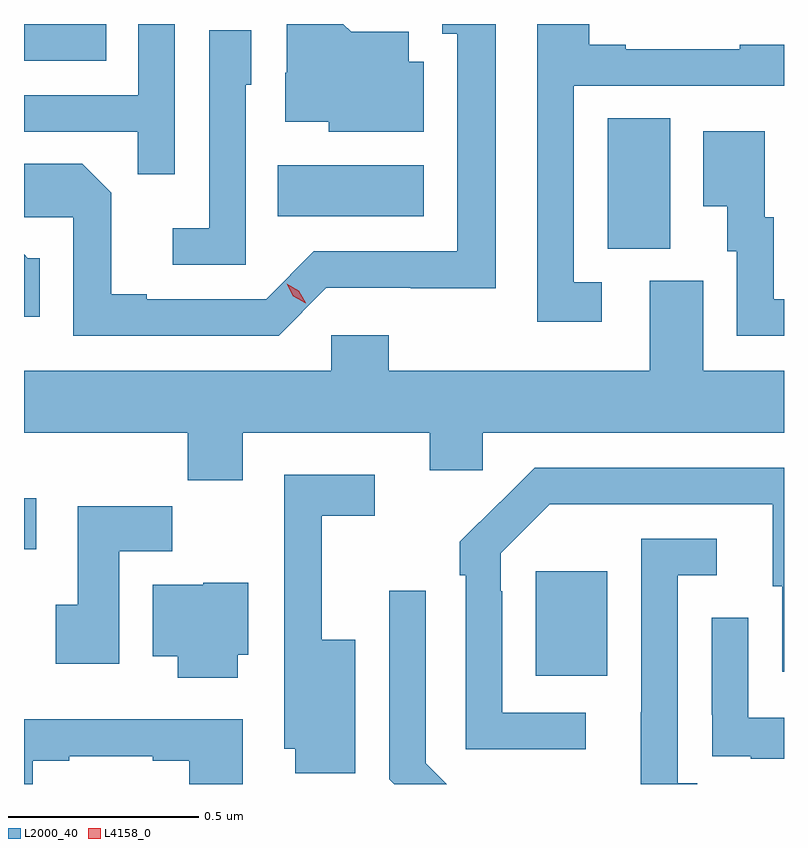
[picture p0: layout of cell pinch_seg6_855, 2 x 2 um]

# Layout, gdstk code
import gdstk
lib = gdstk.Library(unit=1e-6, precision=1e-09)
def R(c, l, rs):  # rectangles x0, y0, x1, y1
    for r in rs: c.add(gdstk.rectangle(r[:2], r[2:], *l))
def P(c, l, *ps):  # polygons
    for p in ps: c.add(gdstk.Polygon(p, *l))
L2000_40 = (2000, 40)
L4158_0 = (4158, 0)

pinch_seg6_855 = lib.new_cell('pinch_seg6_855')
R(pinch_seg6_855, L2000_40, [(150.923,970.673,151.111,970.948), (149.576,971.006,149.608,971.14), (151.112,971.797,151.276,972.14), (150.244,971.882,150.628,972.016), (149.576,972.291,149.792,972.388)])
P(pinch_seg6_855, L2000_40, [(151.096,971.709),(151.023,971.709),(151.023,972.225),(151.576,972.225),(151.576,972.334),(151.459,972.334),(151.459,972.321),(151.159,972.321),(151.159,972.334),(151.063,972.334),(151.063,972.388),(150.927,972.388),(150.927,971.604),(151.096,971.604)],
  [(150.628,972.289),(150.589,972.289),(150.589,972.367),(150.437,972.367),(150.416,972.388),(150.267,972.388),(150.267,972.26),(150.263,972.26),(150.263,972.131),(150.378,972.131),(150.378,972.104),(150.628,972.104)],
  [(150.372,971.694),(150.594,971.694),(150.594,971.693),(150.817,971.693),(150.817,972.388),(150.677,972.388),(150.677,972.363),(150.716,972.363),(150.716,971.79),(150.339,971.79),(150.213,971.664),(149.899,971.664),(149.899,971.677),(149.805,971.677),(149.805,971.944),(149.729,972.02),(149.576,972.02),(149.576,971.88),(149.706,971.88),(149.706,971.568),(150.246,971.568)],
  [(149.973,972.388),(149.877,972.388),(149.877,972.201),(149.576,972.201),(149.576,972.105),(149.875,972.105),(149.875,971.992),(149.973,971.992)],
  [(150.159,972.228),(150.174,972.228),(150.174,972.371),(150.063,972.371),(150.063,971.851),(149.967,971.851),(149.967,971.754),(150.159,971.754)],
  [(151.576,971.664),(151.549,971.664),(151.549,971.88),(151.525,971.88),(151.525,972.106),(151.364,972.106),(151.364,971.909),(151.427,971.909),(151.427,971.79),(151.452,971.79),(151.452,971.568),(151.576,971.568)],
  [(149.617,971.772),(149.586,971.772),(149.576,971.782),(149.576,971.618),(149.617,971.618)],
  [(150.151,971.312),(150.644,971.312),(150.644,971.214),(150.783,971.214),(150.783,971.312),(151.576,971.312),(151.576,971.476),(151.363,971.476),(151.363,971.712),(151.223,971.712),(151.223,971.476),(150.536,971.476),(150.536,971.569),(150.384,971.569),(150.384,971.476),(149.576,971.476),(149.576,971.312),(150.007,971.312),(150.007,971.188),(150.151,971.188)],
  [(151.054,970.575),(150.834,970.575),(150.834,970.895),(150.831,970.895),(150.831,970.995),(150.96,971.124),(151.547,971.124),(151.547,970.908),(151.571,970.908),(151.571,970.683),(151.576,970.683),(151.576,971.22),(150.92,971.22),(150.829,971.129),(150.828,971.13),(150.723,971.025),(150.723,970.937),(150.738,970.937),(150.738,970.479),(151.054,970.479)],
  [(150.448,970.768),(150.359,970.768),(150.359,971.094),(150.499,971.094),(150.499,971.202),(150.261,971.202),(150.261,970.481),(150.29,970.481),(150.29,970.416),(150.448,970.416)],
  [(149.827,971),(149.966,971),(149.966,971.119),(149.717,971.119),(149.717,970.86),(149.66,970.86),(149.66,970.704),(149.827,970.704)],
  [(151.348,970.39),(151.296,970.39),(151.296,970.938),(151.399,970.938),(151.399,971.034),(151.2,971.034),(151.2,970.577),(151.199,970.577),(151.199,970.388),(151.348,970.388)],
  [(150.139,970.728),(150.166,970.728),(150.166,970.918),(150.048,970.918),(150.048,970.912),(149.915,970.912),(149.915,970.724),(149.981,970.724),(149.981,970.667),(150.139,970.667)],
  [(150.633,970.443),(150.633,970.897),(150.537,970.897),(150.537,970.401),(150.55,970.388),(150.688,970.388)],
  [(151.576,970.563),(151.482,970.563),(151.482,970.825),(151.386,970.825),(151.386,970.57),(151.387,970.57),(151.387,970.461),(151.489,970.461),(151.489,970.455),(151.576,970.455)],
  [(149.599,970.449),(149.695,970.449),(149.695,970.461),(149.915,970.461),(149.915,970.449),(150.011,970.449),(150.011,970.388),(150.151,970.388),(150.151,970.558),(149.576,970.558),(149.576,970.388),(149.599,970.388)])
P(pinch_seg6_855, L4158_0, [(150.317,971.653),(150.285,971.672),(150.267,971.704),(150.267,971.705),(150.267,971.705),(150.299,971.686),(150.317,971.654),(150.317,971.653)])

lib.write_gds('pinch_seg6_855.gds')
